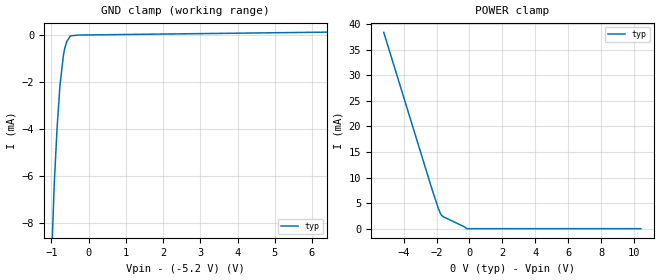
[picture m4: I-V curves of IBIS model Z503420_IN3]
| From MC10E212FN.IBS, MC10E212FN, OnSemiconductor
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| (C) COPYRIGHT 1993-2000
| MENTOR GRAPHICS CORPORATION
| ICX STANDARD LIBRARY, ICX PROJECT MODELING,
| ICX CUSTOM MODELING, ICX VENDOR MODEL
| ALL RIGHTS RESERVED.
| THE FOLLOWING ARE TRADEMARKS OR SERVICE MARKS OF
| MENTOR GRAPHICS CORPORATION:ICX (R), ICX STANDARD
| LIBRARY(R), ICX PROJECT MODELING(R), ICX CUSTOM
| MODELING(R), qualityIBIS(TM), MODELVIEWER(TM),
| AND MODELEDITOR(TM)
| ALL COPIES OF SOFTWARE, INCLUDING BUT NOT LIMITED TO
| ANY MODIFICATIONS, ENHANCEMENTS OR DERIVATIVE WORKS,
| MUST CONTAIN ALL MENTOR GRAPHICS CORPORATION'S
| NOTICES AND LEGENDS, INCLUDING THOSE EMBEDDED IN
| SOFTWARE AND THOSE AFFIXED TO SOFTWARE MEDIUM
| AND CONTAINER, AS RECEIVED FROM MENTOR GRAPHICS
| CORPORATION.
| Model Application Version 1.89 2/18/99.
[Model] Z503420_IN3
Model_type Input_ECL
Vinl = -1.480V
Vinh = -1.130V
C_comp 4.000pF NA NA
| variable typ   min   max
[Voltage Range] -5.200V NA NA
[GND Clamp Reference] -5.200V NA NA
[POWER Clamp Reference] 0.000V NA NA
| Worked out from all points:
|   GND clamp passes 1 mA (typ) near -0.69 V on its own axis
[GND Clamp]
-5.2V     -282.7mA   NA         NA
-1.077V   -13.16mA   NA         NA
-927mV    -6.41mA    NA         NA
-850mV    -3.979mA   NA         NA
-771mV    -2.144mA   NA         NA
-680mV    -892.7uA   NA         NA
-645mV    -589.9uA   NA         NA
-589mV    -291.6uA   NA         NA
-489mV    -49.68uA   NA         NA
-244.5mV  -15.58uA   NA         NA
10.4V     179.9uA    NA         NA
[POWER Clamp]
-5.2V     38.39mA    NA         NA
-2.266V   7.637mA    NA         NA
-1.884V   3.926mA    NA         NA
-1.776V   3.058mA    NA         NA
-1.715V   2.715mA    NA         NA
-1.66V    2.508mA    NA         NA
-1.563V   2.293mA    NA         NA
-327.1mV  384.3uA    NA         NA
-163.6mV  0A         NA         NA
10.4V     0A         NA         NA
